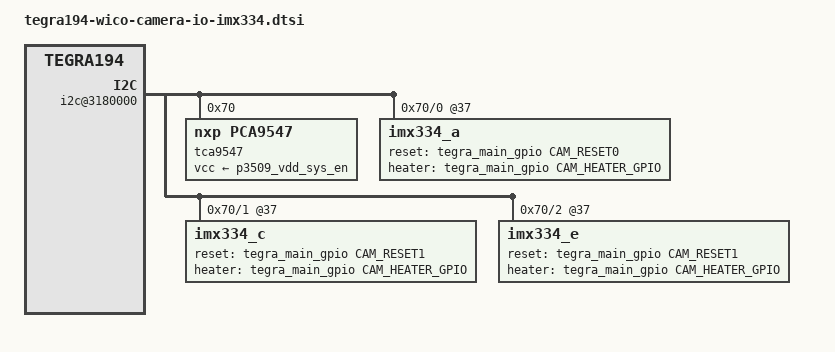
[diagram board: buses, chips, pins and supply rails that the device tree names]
/*
 * Copyright (c) 2021-2022, NVIDIA CORPORATION.  All rights reserved.
 *
 * This program is free software; you can redistribute it and/or modify
 * it under the terms of the GNU General Public License as published by
 * the Free Software Foundation; either version 2 of the License, or
 * (at your option) any later version.
 *
 * This program is distributed in the hope that it will be useful, but WITHOUT
 * ANY WARRANTY; without even the implied warranty of MERCHANTABILITY or
 * FITNESS FOR A PARTICULAR PURPOSE.  See the GNU General Public License for
 * more details.
 *
 * You should have received a copy of the GNU General Public License
 * along with this program.  If not, see <http://www.gnu.org/licenses/>.
 */
#include "tegra194-wico-camera-imx334.dtsi"

#define CAMERA_I2C_MUX_BUS(x) (0x1E + x)
#define CAM_HEATER_GPIO	TEGRA194_MAIN_GPIO(Q, 5)
#define CAM_RESET1   TEGRA194_MAIN_GPIO(P, 5)
#define CAM_RESET0	TEGRA194_MAIN_GPIO(P, 4)

// Pin 120 Cam Reset1 P, 5 (x4.1, x4.2)
// Pin 114 Cam Reset0 P, 4 (x4.3)
// pin 116: CAM0_MCLK = EXTPERIPH1_CLK (x4.3)
// pin 122: CAM1_MCLK = EXTPERIPH2_CLK (x4.2, x4.1)

/* camera control gpio definitions */

/ {
	i2c@3180000 {
		tca9547@70 {
			compatible = "nxp,pca9547";
			reg = <0x70>;
			#address-cells = <1>;
			#size-cells = <0>;
			skip_mux_detect = "yes";
			vcc-supply = <&p3509_vdd_sys_en>;
			vcc_lp = "vcc";
			force_bus_start = <CAMERA_I2C_MUX_BUS(0)>;

            // x4.3
			i2c@0 {
				reg = <0>;
				i2c-mux,deselect-on-exit;
				#address-cells = <1>;
				#size-cells = <0>;

				imx334_a@37 {
					/* Define any required hw resources needed by driver */
					/* ie. clocks, io pins, power sources */
					clocks = <&bpmp_clks TEGRA194_CLK_EXTPERIPH1>,
							 <&bpmp_clks TEGRA194_CLK_PLLP_OUT0>;
					clock-names = "extperiph1", "pllp_grtba";
					mclk = "extperiph1";
					channel = "a";
					reset-gpios = <&tegra_main_gpio CAM_RESET0 GPIO_ACTIVE_HIGH>;
					heater-gpios = <&tegra_main_gpio CAM_HEATER_GPIO GPIO_ACTIVE_HIGH>;
				};
			};

            //x4.2
			i2c@1 {
				reg = <1>;
				i2c-mux,deselect-on-exit;
				#address-cells = <1>;
				#size-cells = <0>;

				imx334_c@37 {
					/* Define any required hw resources needed by driver */
					/* ie. clocks, io pins, power sources */
					clocks = <&bpmp_clks TEGRA194_CLK_EXTPERIPH2>,
							 <&bpmp_clks TEGRA194_CLK_PLLP_OUT0>;
					clock-names = "extperiph2", "pllp_grtba";
					mclk = "extperiph2";
					channel = "c";
					reset-gpios = <&tegra_main_gpio CAM_RESET1 GPIO_ACTIVE_HIGH>;
					heater-gpios = <&tegra_main_gpio CAM_HEATER_GPIO GPIO_ACTIVE_HIGH>;
				};
			};

            //x4.1
			i2c@2 {
				reg = <2>;
				i2c-mux,deselect-on-exit;
				#address-cells = <1>;
				#size-cells = <0>;

				imx334_e@37 {
					/* Define any required hw resources needed by driver */
					/* ie. clocks, io pins, power sources */
					clocks = <&bpmp_clks TEGRA194_CLK_EXTPERIPH2>,
							 <&bpmp_clks TEGRA194_CLK_PLLP_OUT0>;
					clock-names = "extperiph2", "pllp_grtba";
					mclk = "extperiph2";
					channel = "e";
					reset-gpios = <&tegra_main_gpio CAM_RESET1 GPIO_ACTIVE_HIGH>;
					heater-gpios = <&tegra_main_gpio CAM_HEATER_GPIO GPIO_ACTIVE_HIGH>;
				};
			};
		};
	};
};
